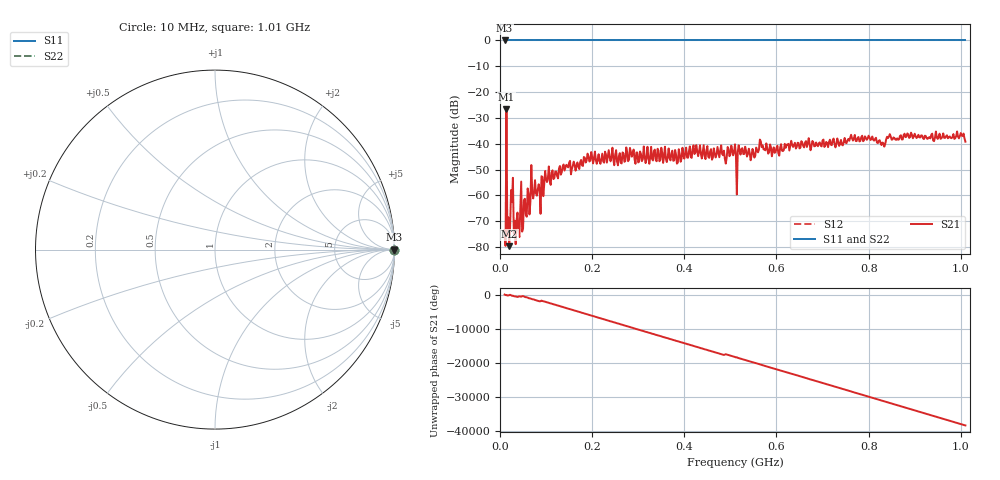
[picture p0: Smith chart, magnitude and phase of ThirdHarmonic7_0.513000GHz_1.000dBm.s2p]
! 8/17/2025 2:56:15 PM
! C:\ANRITSUVNA\TEMP\TEMP.S2P
! CHANNEL.1
! TR.MEASUREMENT
! RAW.DATA
! RF.CORRECTION.OFF
! AVERAGING.OFF
! IF.BANDWIDTH: 5KHZ
! SWEEPTYPE:  FREQ.SWEEP(Linear)
! Reference Plane Port Info
! PORT:  PORT1  PORT2
! DISTANCE:  0  m  0  m
! TIME:  0  s  0  s
! PHASE.OFFSET:  0  deg.  0  deg.
! LOSS:  0  dB  0  dB
! REF.LOSS:  0  dB  0  dB
! REF.FREQ:  0  Hz  0  Hz
! Power Info
! POWER:  -20  dBm  -20  dBm
! EFF.POWER:  -20  dBm  -20  dBm
! SOURCE.ATTEN:  0  dB  0  dB
! TEST.ATTEN:  0  dB  0  dB
# GHZ S RI R 50.0
! FREQ.GHZ  S11RE  S11IM  S21RE  S21IM  S12RE  S12IM  S22RE  S22IM
!; PortSelection: Port_12
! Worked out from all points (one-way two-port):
!   501 points, 10 MHz to 1.01 GHz, reference 50 ohm
!   highest |S21| = -26.74 dB at 14 MHz (marker M1); lowest = -79.7 dB at 20 MHz (marker M2)
!   lowest |S11| = 0.0 dB at 10 MHz (marker M3)
!   |S11| at or under -10 dB: nowhere
!   |S22| runs from 0.0 to 0.0 dB; largest |S21 - S12| = 1
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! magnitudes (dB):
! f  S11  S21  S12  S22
! 10 MHz  0.0  -73.4  0.0  0.0
! 14 MHz  0.0  -26.7  0.0  0.0
! 18 MHz  0.0  -68.5  0.0  0.0
! 20 MHz  0.0  -79.7  0.0  0.0
! 28 MHz  0.0  -53.2  0.0  0.0
! 38 MHz  0.0  -66.7  0.0  0.0
! 42 MHz  0.0  -76.2  0.0  0.0
! 52 MHz  0.0  -61.8  0.0  0.0
! 72 MHz  0.0  -61.2  0.0  0.0
! 84 MHz  0.0  -55.7  0.0  0.0
! 102 MHz  0.0  -54.9  0.0  0.0
! 178 MHz  0.0  -48.4  0.0  0.0
! 344 MHz  0.0  -42.7  0.0  0.0
! 506 MHz  0.0  -44.5  0.0  0.0
! 510 MHz  0.0  -40.3  0.0  0.0
! 522 MHz  0.0  -44.2  0.0  0.0
! 548 MHz  0.0  -42.0  0.0  0.0
! 566 MHz  0.0  -39.1  0.0  0.0
! 678 MHz  0.0  -38.9  0.0  0.0
! 832 MHz  0.0  -39.8  0.0  0.0
! 844 MHz  0.0  -37.3  0.0  0.0
! 1.01 GHz  0.0  -39.2  0.0  0.0
